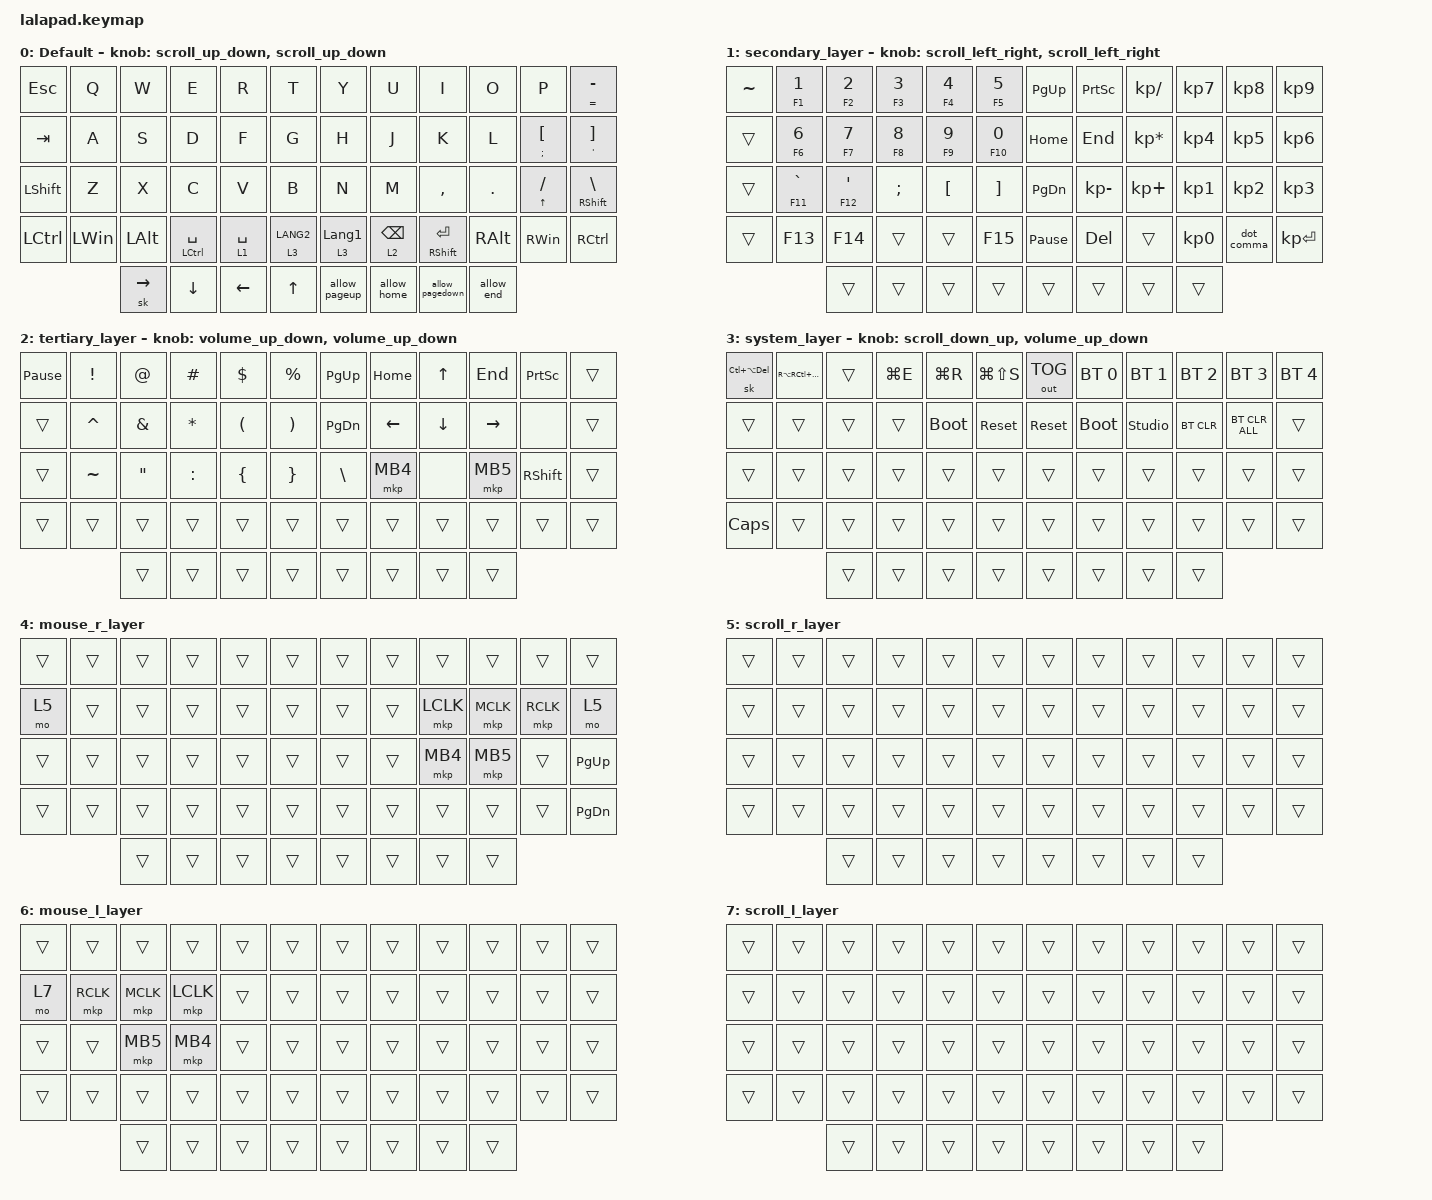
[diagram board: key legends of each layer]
#include <input/processors.dtsi>
#include <behaviors.dtsi>
#include <dt-bindings/zmk/bt.h>
#include <dt-bindings/zmk/keys.h>
#include <dt-bindings/zmk/outputs.h>
#include <dt-bindings/zmk/pointing.h>

#define DEFAULT_LAYER   0
#define SECONDARY_LAYER 1
#define TERTIARY_LAYER  2
#define SYSTEM_LAYER    3
#define MOUSE_R_LAYER   4
#define SCROLL_R_LAYER  5
#define MOUSE_L_LAYER   6
#define SCROLL_L_LAYER  7

// Mouse Scroll Value

#define ZMK_POINTING_DEFAULT_SCRL_VAL 100

// cirque trackpad input&layer control

&glidepoint_listener_R {
    input-processors =
        <&zip_xy_transform (INPUT_TRANSFORM_XY_SWAP | INPUT_TRANSFORM_X_INVERT | INPUT_TRANSFORM_Y_INVERT)>,
        <&zip_xy_scaler 2 1>,
        <&zip_temp_layer MOUSE_R_LAYER 500>;

    lowspeedmode {
        layers = <SECONDARY_LAYER>;
        input-processors =
            <&zip_xy_transform (INPUT_TRANSFORM_XY_SWAP | INPUT_TRANSFORM_X_INVERT | INPUT_TRANSFORM_Y_INVERT)>,
            <&zip_xy_scaler 3 5>,
            <&zip_temp_layer MOUSE_R_LAYER 500>;
    };

    scroller {
        layers = <SCROLL_R_LAYER>;
        input-processors =
            <&zip_xy_to_scroll_mapper>,
            <&zip_scroll_transform (INPUT_TRANSFORM_XY_SWAP | INPUT_TRANSFORM_Y_INVERT)>,
            <&zip_scroll_scaler 1 8>;
    };
};

&glidepoint_listener_L {
    input-processors =
        <&zip_xy_transform (INPUT_TRANSFORM_XY_SWAP | INPUT_TRANSFORM_X_INVERT | INPUT_TRANSFORM_Y_INVERT)>,
        <&zip_xy_scaler 3 2>,
        <&zip_temp_layer MOUSE_L_LAYER 500>;

    lowspeedmode {
        layers = <SECONDARY_LAYER>;
        input-processors =
            <&zip_xy_transform (INPUT_TRANSFORM_XY_SWAP | INPUT_TRANSFORM_X_INVERT | INPUT_TRANSFORM_Y_INVERT)>,
            <&zip_xy_scaler 3 4>,
            <&zip_temp_layer MOUSE_L_LAYER 500>;
    };

    scroller {
        layers = <SCROLL_L_LAYER>;
        input-processors =
            <&zip_xy_to_scroll_mapper>,
            <&zip_scroll_transform (INPUT_TRANSFORM_XY_SWAP | INPUT_TRANSFORM_Y_INVERT)>,
            <&zip_scroll_scaler 1 6>;
    };
};

/ {
    behaviors {
        // Encoder to Mouse Scroll

        scroll_up_down: sensor_scroll_up_down {
            compatible = "zmk,behavior-sensor-rotate";
            #sensor-binding-cells = <0>;
            bindings = <&msc SCRL_UP>, <&msc SCRL_DOWN>;

            tap-ms = <20>;
            label = "SCROLL_UP_DOWN";
        };

        scroll_down_up: sensor_scroll_down_up {
            compatible = "zmk,behavior-sensor-rotate";
            #sensor-binding-cells = <0>;
            bindings = <&msc SCRL_DOWN>, <&msc SCRL_UP>;

            tap-ms = <20>;
            label = "SCROLL_DOWN_UP";
        };

        scroll_left_right: sensor_scroll_left_right {
            compatible = "zmk,behavior-sensor-rotate";
            #sensor-binding-cells = <0>;
            bindings = <&msc SCRL_LEFT>, <&msc SCRL_RIGHT>;

            tap-ms = <20>;
            label = "SCROLL_LEFT_RIGHT";
        };

        scroll_right_left: sensor_scroll_right_left {
            compatible = "zmk,behavior-sensor-rotate";
            #sensor-binding-cells = <0>;
            bindings = <&msc SCRL_RIGHT>, <&msc SCRL_LEFT>;

            tap-ms = <20>;
            label = "SCROLL_RIGHT_LEFT";
        };

        volume_up_down: sensor_volume_up_down {
            compatible = "zmk,behavior-sensor-rotate";
            #sensor-binding-cells = <0>;
            bindings = <&kp C_VOLUME_UP>, <&kp C_VOLUME_DOWN>;

            tap-ms = <20>;
            label = "VOLUME_UP_DOWN";
        };

        dot_comma: dot_comma {
            compatible = "zmk,behavior-mod-morph";
            #binding-cells = <0>;
            bindings = <&kp KP_DOT>, <&kp COMMA>;

            mods = <(MOD_LSFT|MOD_RSFT)>;
            label = "DOT_COMMA";
        };

        pls_minus: pls_minus {
            compatible = "zmk,behavior-mod-morph";
            #binding-cells = <0>;
            bindings = <&kp PLUS>, <&kp MINUS>;

            mods = <(MOD_LSFT|MOD_RSFT)>;
            label = "PLS_MINUS";
        };

        allow_pageup: allow_pageup {
            compatible = "zmk,behavior-mod-morph";
            #binding-cells = <0>;
            bindings = <&kp UP>, <&kp PAGE_UP>;

            mods = <(MOD_LCTL|MOD_RCTL)>;
            label = "ALLOW_PAGEUP";
        };

        allow_pagedown: allow_pagedown {
            compatible = "zmk,behavior-mod-morph";
            #binding-cells = <0>;
            bindings = <&kp DOWN>, <&kp PAGE_DOWN>;

            mods = <(MOD_LCTL|MOD_RCTL)>;
            label = "ALLOW_PAGEDOWN";
        };

        allow_home: allow_home {
            compatible = "zmk,behavior-mod-morph";
            #binding-cells = <0>;
            bindings = <&kp LEFT>, <&kp HOME>;

            mods = <(MOD_LCTL|MOD_RCTL)>;
            label = "ALLOW_HOME";
        };

        allow_end: allow_end {
            compatible = "zmk,behavior-mod-morph";
            #binding-cells = <0>;
            bindings = <&kp RIGHT>, <&kp END>;

            mods = <(MOD_LCTL|MOD_RCTL)>;
            label = "ALLOW_END";
        };

        mt2: mod_tap2 {
            compatible = "zmk,behavior-hold-tap";
            #binding-cells = <2>;
            flavor = "tap-preferred";
            tapping-term-ms = <200>;
            quick-tap-ms = <200>;
            require-prior-idle-ms = <125>;
            bindings = <&kp>, <&kp>;
        };

        // 名称は任意（例: lt_rept）

        lt2: layer_tap_repeat {
            compatible = "zmk,behavior-hold-tap";
            label = "LAYER_TAP_REPEAT";
            #binding-cells = <2>;
            flavor = "tap-preferred";       // タップ優先の設定（好みで balanced 等に変更可）
            tapping-term-ms = <200>;        // ホールド判定までの時間
            quick-tap-ms = <175>;           // 重要：この時間内の再タップ＆ホールドで「文字リピート」になる
            bindings = <&mo>, <&kp>;

            // 第1引数:レイヤー(Hold)、第2引数:キー(Tap)
        };
    };

    combos {
        compatible = "zmk,combos";

        EscapeCombo {
            bindings = <&kp ESCAPE>;
            key-positions = <40 43>;
        };

        ZenkakuHankakuCombo {
            bindings = <&kp F15>;
            key-positions = <0 41>;
        };
    };

    keymap {
        compatible = "zmk,keymap";

        DEFAULT_LAYER {
            display-name = "Default";
            sensor-bindings = <&scroll_up_down>, <&scroll_up_down>;

            bindings = <
&kp ESC    &kp Q         &kp W            &kp E                    &kp R           &kp T         &kp Y             &kp U             &kp I                    &kp O          &kp P           &mt2 EQUAL MINUS
&kp TAB    &kp A         &kp S            &kp D                    &kp F           &kp G         &kp H             &kp J             &kp K                    &kp L          &mt2 SEMI LBKT  &mt2 SQT RBKT
&kp LSHFT  &kp Z         &kp X            &kp C                    &kp V           &kp B         &kp N             &kp M             &kp COMMA                &kp PERIOD     &mt2 UP SLASH   &mt2 RIGHT_SHIFT BSLH
&kp LCTRL  &kp LEFT_WIN  &kp LEFT_ALT     &mt2 LEFT_CONTROL SPACE  &lt2 1 SPACE    &lt 3 LANG2   &lt 3 LANGUAGE_1  &lt2 2 BACKSPACE  &mt2 RIGHT_SHIFT RETURN  &kp RIGHT_ALT  &kp RIGHT_WIN   &kp RCTRL
                         &sk RIGHT_ARROW  &kp DOWN_ARROW           &kp LEFT_ARROW  &kp UP_ARROW  &allow_pageup     &allow_home       &allow_pagedown          &allow_end
            >;
        };

        SECONDARY_LAYER {
            display-name = "secondary_layer";
            sensor-bindings = <&scroll_left_right>, <&scroll_left_right>;

            bindings = <
&kp TILDE  &mt2 F1 NUMBER_1  &mt2 F2 NUMBER_2  &mt2 F3 NUMBER_3  &mt2 F4 NUMBER_4  &mt2 F5 NUMBER_5   &kp PAGE_UP      &kp PRINTSCREEN  &kp KP_SLASH     &kp KP_NUMBER_7  &kp KP_NUMBER_8  &kp KP_NUMBER_9
&trans     &mt2 F6 NUMBER_6  &mt2 F7 NUMBER_7  &mt2 F8 NUMBER_8  &mt2 F9 NUMBER_9  &mt2 F10 NUMBER_0  &kp HOME         &kp END          &kp KP_ASTERISK  &kp KP_NUMBER_4  &kp KP_NUMBER_5  &kp KP_NUMBER_6
&trans     &mt2 F11 GRAVE    &mt2 F12 SQT      &kp SEMICOLON     &kp LEFT_BRACKET  &kp RIGHT_BRACKET  &kp PAGE_DOWN    &kp KP_MINUS     &kp KP_PLUS      &kp KP_NUMBER_1  &kp KP_NUMBER_2  &kp KP_NUMBER_3
&trans     &kp F13           &kp F14           &trans            &trans            &kp F15            &kp PAUSE_BREAK  &kp DELETE       &trans           &kp KP_NUMBER_0  &dot_comma       &kp KP_ENTER
                             &trans            &trans            &trans            &trans             &trans           &trans           &trans           &trans
            >;
        };

        TERTIARY_LAYER {
            display-name = "tertiary_layer";
            bindings = <
&kp PAUSE_BREAK  &kp EXCL   &kp AT             &kp HASH   &kp DOLLAR            &kp PERCENT            &kp PG_UP      &kp HOME        &kp UP_ARROW    &kp END          &kp PSCRN        &trans
&trans           &kp CARET  &kp AMPERSAND      &kp ASTRK  &kp LEFT_PARENTHESIS  &kp RIGHT_PARENTHESIS  &kp PG_DN      &kp LEFT_ARROW  &kp DOWN_ARROW  &kp RIGHT_ARROW  &none            &trans
&trans           &kp TILDE  &kp DOUBLE_QUOTES  &kp COLON  &kp LEFT_BRACE        &kp RIGHT_BRACE        &kp BACKSLASH  &mkp MB4        &none           &mkp MB5         &kp RIGHT_SHIFT  &trans
&trans           &trans     &trans             &trans     &trans                &trans                 &trans         &trans          &trans          &trans           &trans           &trans
                            &trans             &trans     &trans                &trans                 &trans         &trans          &trans          &trans
            >;

            sensor-bindings = <&volume_up_down>, <&volume_up_down>;
        };

        SYSTEM_LAYER {
            display-name = "system_layer";
            sensor-bindings = <&scroll_down_up>, <&volume_up_down>;

            bindings = <
&sk LC(LA(DELETE))  &kp RA(RC(HOME))  &trans  &kp LG(E)  &kp LG(R)    &kp LG(LS(S))  &out OUT_TOG  &bt BT_SEL 0  &bt BT_SEL 1    &bt BT_SEL 2  &bt BT_SEL 3    &bt BT_SEL 4
&trans              &trans            &trans  &trans     &bootloader  &sys_reset     &sys_reset    &bootloader   &studio_unlock  &bt BT_CLR    &bt BT_CLR_ALL  &trans
&trans              &trans            &trans  &trans     &trans       &trans         &trans        &trans        &trans          &trans        &trans          &trans
&kp CAPS            &trans            &trans  &trans     &trans       &trans         &trans        &trans        &trans          &trans        &trans          &trans
                                      &trans  &trans     &trans       &trans         &trans        &trans        &trans          &trans
            >;
        };

        MOUSE_R_LAYER {
            display-name = "mouse_r_layer";
            bindings = <
&trans  &trans  &trans  &trans  &trans  &trans  &trans  &trans  &trans     &trans     &trans     &trans
&mo 5   &trans  &trans  &trans  &trans  &trans  &trans  &trans  &mkp LCLK  &mkp MCLK  &mkp RCLK  &mo 5
&trans  &trans  &trans  &trans  &trans  &trans  &trans  &trans  &mkp MB4   &mkp MB5   &trans     &kp PAGE_UP
&trans  &trans  &trans  &trans  &trans  &trans  &trans  &trans  &trans     &trans     &trans     &kp PAGE_DOWN
                &trans  &trans  &trans  &trans  &trans  &trans  &trans     &trans
            >;
        };

        SCROLL_R_LAYER {
            display-name = "scroll_r_layer";
            bindings = <
&trans  &trans  &trans  &trans  &trans  &trans  &trans  &trans  &trans  &trans  &trans  &trans
&trans  &trans  &trans  &trans  &trans  &trans  &trans  &trans  &trans  &trans  &trans  &trans
&trans  &trans  &trans  &trans  &trans  &trans  &trans  &trans  &trans  &trans  &trans  &trans
&trans  &trans  &trans  &trans  &trans  &trans  &trans  &trans  &trans  &trans  &trans  &trans
                &trans  &trans  &trans  &trans  &trans  &trans  &trans  &trans
            >;
        };

        MOUSE_L_LAYER {
            display-name = "mouse_l_layer";
            bindings = <
&trans  &trans     &trans     &trans     &trans  &trans  &trans  &trans  &trans  &trans  &trans  &trans
&mo 7   &mkp RCLK  &mkp MCLK  &mkp LCLK  &trans  &trans  &trans  &trans  &trans  &trans  &trans  &trans
&trans  &trans     &mkp MB5   &mkp MB4   &trans  &trans  &trans  &trans  &trans  &trans  &trans  &trans
&trans  &trans     &trans     &trans     &trans  &trans  &trans  &trans  &trans  &trans  &trans  &trans
                   &trans     &trans     &trans  &trans  &trans  &trans  &trans  &trans
            >;
        };

        SCROLL_L_LAYER {
            display-name = "scroll_l_layer";
            bindings = <
&trans  &trans  &trans  &trans  &trans  &trans  &trans  &trans  &trans  &trans  &trans  &trans
&trans  &trans  &trans  &trans  &trans  &trans  &trans  &trans  &trans  &trans  &trans  &trans
&trans  &trans  &trans  &trans  &trans  &trans  &trans  &trans  &trans  &trans  &trans  &trans
&trans  &trans  &trans  &trans  &trans  &trans  &trans  &trans  &trans  &trans  &trans  &trans
                &trans  &trans  &trans  &trans  &trans  &trans  &trans  &trans
            >;
        };
    };
};
